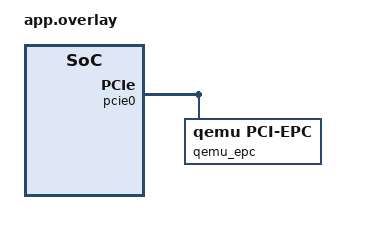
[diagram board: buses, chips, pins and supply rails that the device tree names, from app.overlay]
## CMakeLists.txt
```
# Copyright The Zephyr Project Contributors
# SPDX-License-Identifier: Apache-2.0

cmake_minimum_required(VERSION 3.20.0)
find_package(Zephyr REQUIRED HINTS $ENV{ZEPHYR_BASE})
project(pcie_epf_test)

target_sources(app PRIVATE src/main.c)
```

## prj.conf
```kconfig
CONFIG_PCIE=y
CONFIG_PCIE_EPC=y
CONFIG_PCIE_EPF_TEST=y
CONFIG_LOG=y

# Reserve space for BARs and the Linux host selftest transfer buffers.
CONFIG_PCIE_EPC_QEMU_DMA_HEAP_SIZE=4194304

# Map EPC registers and outbound windows in addition to the DMA heap.
CONFIG_KERNEL_VM_SIZE=0x2000000
```

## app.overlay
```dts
/*
 * Copyright The Zephyr Project Contributors
 *
 * SPDX-License-Identifier: Apache-2.0
 */

/ {
	pcie0 {
		qemu_epc: epc {
			compatible = "qemu,pci-epc";
			max-functions = <8>;

			vendor-id = <0x1b36>;
			device-id = <0x0015>;

			status = "okay";
		};
	};
};
```

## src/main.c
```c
/*
 * Copyright The Zephyr Project Contributors
 *
 * SPDX-License-Identifier: Apache-2.0
 */

#include <zephyr/kernel.h>
#include <zephyr/drivers/pcie/endpoint/pcie_epc.h>
#include <zephyr/drivers/pcie/endpoint/pcie_epf_test.h>

int main(void)
{
	const struct device *epc = DEVICE_DT_GET(DT_NODELABEL(qemu_epc));
	int ret;

	if (!device_is_ready(epc)) {
		printk("EPC device is not ready\n");
		return 0;
	}

	ret = pcie_epf_test_add(epc);
	if (ret != 0) {
		printk("Failed to add the EPF test functions: %d\n", ret);
		return 0;
	}

	ret = pcie_epc_start(epc);
	if (ret != 0) {
		printk("Failed to start the PCI link: %d\n", ret);
		return 0;
	}

	printk("PCI endpoint test function started\n");
	return 0;
}
```
